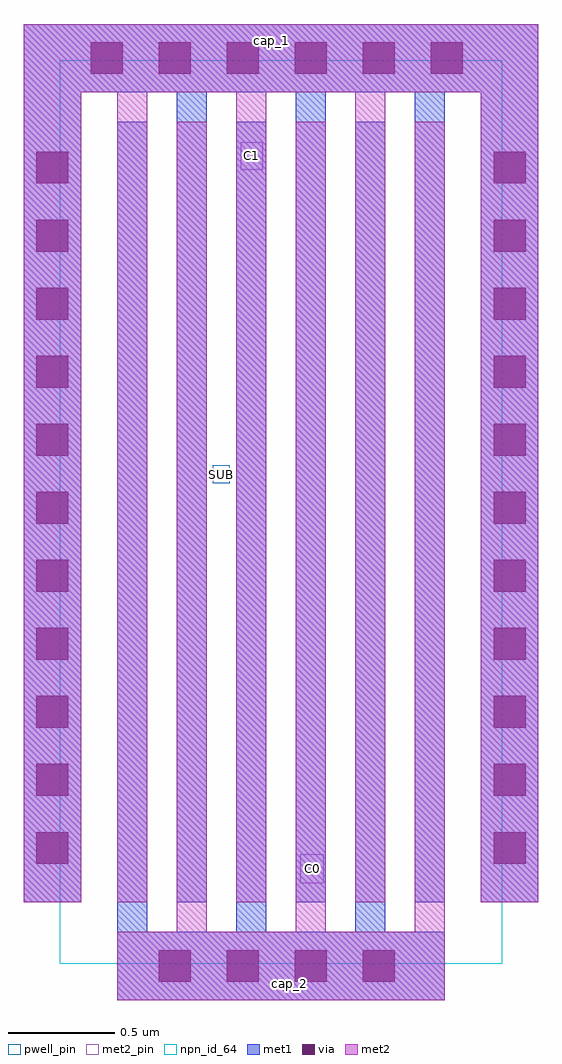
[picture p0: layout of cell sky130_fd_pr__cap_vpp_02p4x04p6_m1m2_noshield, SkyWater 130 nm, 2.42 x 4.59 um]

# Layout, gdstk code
import gdstk
lib = gdstk.Library(unit=1e-6, precision=1e-09)
def R(c, l, rs):  # rectangles x0, y0, x1, y1
    for r in rs: c.add(gdstk.rectangle(r[:2], r[2:], *l))
def A(c, l, x, y, w, h, nx, ny, dx, dy):  # array of equal rectangles
    R(c, l, [(x+i*dx, y+j*dy, x+i*dx+w, y+j*dy+h) for i in range(nx) for j in range(ny)])
met1 = (68, 20)
via = (68, 44)
met2_pin = (69, 16)
met2 = (69, 20)
npn_id_64 = (82, 64)
pwell_pin = (122, 16)

sky130_fd_pr__cap_vpp_02 = lib.new_cell('sky130_fd_pr__cap_vpp_02p4x04p6_m1m2_noshield')
A(sky130_fd_pr__cap_vpp_02, met1, 0, 0.32, 0.14, 3.81, 3, 1, 0.56, 0)
A(sky130_fd_pr__cap_vpp_02, met1, 0.28, 0.46, 0.14, 3.81, 3, 1, 0.56, 0)
R(sky130_fd_pr__cap_vpp_02, met1, [(0,0,1.54,0.32), (-0.44,0.46,-0.17,4.27), (1.71,0.46,1.98,4.27), (-0.44,4.27,1.98,4.59)])
A(sky130_fd_pr__cap_vpp_02, via, -0.38, 0.64, 0.15, 0.15, 1, 11, 0, 0.32)
A(sky130_fd_pr__cap_vpp_02, via, 1.77, 0.64, 0.15, 0.15, 1, 11, 0, 0.32)
A(sky130_fd_pr__cap_vpp_02, via, -0.125, 4.355, 0.15, 0.15, 6, 1, 0.32, 0)
R(sky130_fd_pr__cap_vpp_02, via, [(0.195,0.085,0.345,0.235), (0.195,0.085,0.345,0.235), (0.515,0.085,0.665,0.235), (0.515,0.085,0.665,0.235), (0.835,0.085,0.985,0.235), (0.835,0.085,0.985,0.235), (1.155,0.085,1.305,0.235), (1.155,0.085,1.305,0.235)])
R(sky130_fd_pr__cap_vpp_02, met2_pin, [(0.86,0.55,0.97,0.685), (0.58,3.905,0.685,4.035)])
A(sky130_fd_pr__cap_vpp_02, met2, 0.28, 0.32, 0.14, 3.81, 3, 1, 0.56, 0)
A(sky130_fd_pr__cap_vpp_02, met2, 0, 0.46, 0.14, 3.81, 3, 1, 0.56, 0)
R(sky130_fd_pr__cap_vpp_02, met2, [(0,0,1.54,0.32), (-0.44,0.46,-0.17,4.27), (1.71,0.46,1.98,4.27), (-0.44,4.27,1.98,4.59)])
R(sky130_fd_pr__cap_vpp_02, npn_id_64, [(-0.27,0.17,1.81,4.42)])
R(sky130_fd_pr__cap_vpp_02, pwell_pin, [(0.45,2.43,0.53,2.515)])
sky130_fd_pr__cap_vpp_02.add(gdstk.Label('cap_1', (0.724,4.514), layer=69, texttype=5))
sky130_fd_pr__cap_vpp_02.add(gdstk.Label('cap_2', (0.81,0.078), layer=69, texttype=5))
sky130_fd_pr__cap_vpp_02.add(gdstk.Label('C0', (0.92,0.618), layer=69, texttype=5))
sky130_fd_pr__cap_vpp_02.add(gdstk.Label('C1', (0.633,3.97), layer=69, texttype=5))
sky130_fd_pr__cap_vpp_02.add(gdstk.Label('SUB', (0.49,2.473), layer=64, texttype=59))

lib.write_gds('sky130_fd_pr__cap_vpp_02p4x04p6_m1m2_noshield.gds')
